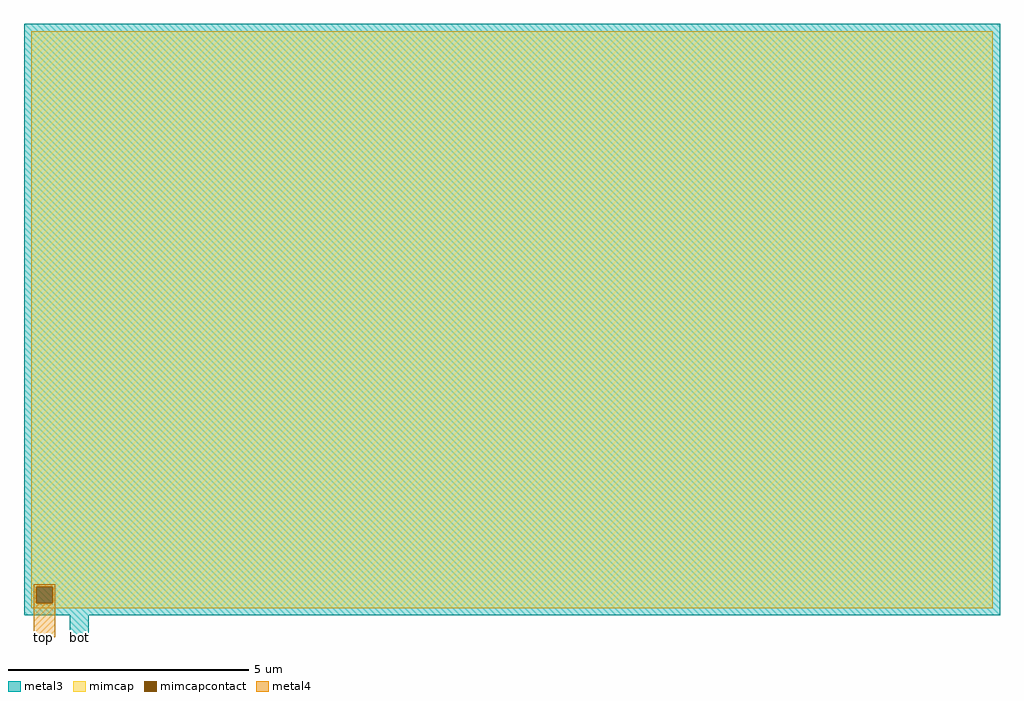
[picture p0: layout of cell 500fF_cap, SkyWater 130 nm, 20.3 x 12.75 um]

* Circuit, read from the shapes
.subckt 500fF_cap bot top
XC1 top bot sky130_fd_pr__cap_mim_m3_1 w=20 l=12
.ends

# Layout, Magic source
magic
tech sky130A
<< metal3 >>
rect -15 -15 2015 1215
rect 80 -60 120 -15
<< mimcap >>
rect 0 45 2000 1200
rect 0 10 10 45
rect 45 10 2000 45
rect 0 0 2000 10
<< mimcapcontact >>
rect 10 10 45 45
<< metal4 >>
rect 5 45 50 50
rect 5 10 10 45
rect 45 10 50 45
rect 5 -60 50 10
<< labels >>
rlabel metal4 25 -60 25 -60 5 top
rlabel metal3 100 -60 100 -60 5 bot
<< end >>
